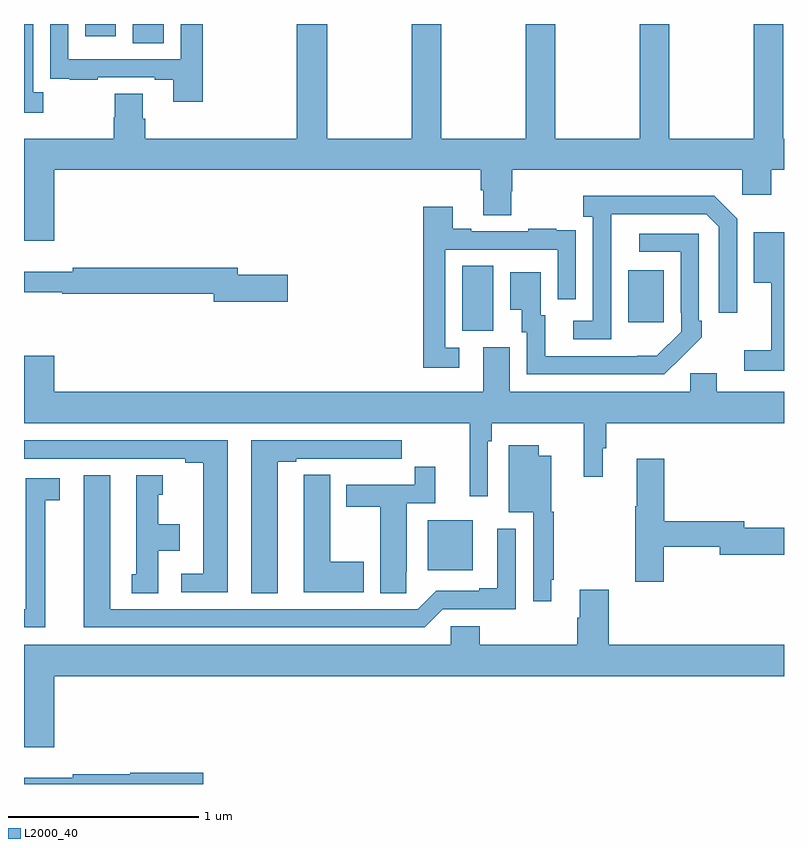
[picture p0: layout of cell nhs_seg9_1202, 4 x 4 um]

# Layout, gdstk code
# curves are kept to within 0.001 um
import gdstk
lib = gdstk.Library(unit=1e-6, precision=1e-09)
def R(c, l, rs):  # rectangles x0, y0, x1, y1
    for r in rs: c.add(gdstk.rectangle(r[:2], r[2:], *l))
def P(c, l, *ps):  # polygons
    for p in ps: c.add(gdstk.Polygon(p, *l))
L2000_40 = (2000, 40)

nhs_seg9_1202 = lib.new_cell('nhs_seg9_1202')
R(nhs_seg9_1202, L2000_40, [(179.126,1215.626,179.362,1215.889), (179.306,1216.885,179.47,1217.228), (180.179,1216.929,180.367,1217.203), (177.572,1218.4,177.736,1218.5), (177.323,1218.435,177.484,1218.5)])
P(nhs_seg9_1202, L2000_40, [(177.1,1218.142),(177.048,1218.142),(177.048,1218.5),(177,1218.5),(177,1218.032),(177.1,1218.032)],
  [(177.941,1218.5),(177.825,1218.5),(177.825,1218.315),(177.234,1218.315),(177.234,1218.5),(177.138,1218.5),(177.138,1218.322),(177.139,1218.322),(177.139,1218.213),(177.241,1218.213),(177.241,1218.207),(177.389,1218.207),(177.389,1218.219),(177.689,1218.219),(177.689,1218.207),(177.785,1218.207),(177.785,1218.09),(177.941,1218.09)],
  [(177.16,1217.732),(179.405,1217.732),(179.405,1217.626),(179.417,1217.626),(179.417,1217.494),(179.565,1217.494),(179.565,1217.619),(179.57,1217.619),(179.57,1217.732),(180.78,1217.732),(180.78,1217.601),(180.932,1217.601),(180.932,1217.732),(181,1217.732),(181,1217.896),(180.996,1217.896),(180.996,1218.5),(180.841,1218.5),(180.841,1217.896),(180.396,1217.896),(180.396,1218.5),(180.241,1218.5),(180.241,1217.896),(179.796,1217.896),(179.796,1218.5),(179.641,1218.5),(179.641,1217.896),(179.196,1217.896),(179.196,1218.5),(179.041,1218.5),(179.041,1217.896),(178.596,1217.896),(178.596,1218.5),(178.436,1218.5),(178.436,1217.896),(177.638,1217.896),(177.638,1218.002),(177.625,1218.002),(177.625,1218.134),(177.478,1218.134),(177.478,1218.009),(177.473,1218.009),(177.473,1217.896),(177,1217.896),(177,1217.358),(177.16,1217.358)],
  [(180.09,1217.299),(180.091,1217.499),(180.591,1217.499),(180.657,1217.433),(180.657,1216.98),(180.753,1216.98),(180.753,1217.475),(180.632,1217.596),(179.943,1217.596),(179.943,1217.486),(179.994,1217.486),(179.994,1216.938),(179.892,1216.938),(179.892,1216.842),(180.09,1216.842)],
  [(179.29,1216.797),(179.217,1216.797),(179.217,1217.313),(179.808,1217.313),(179.808,1217.052),(179.904,1217.052),(179.904,1217.306),(179.903,1217.306),(179.903,1217.415),(179.801,1217.415),(179.801,1217.422),(179.653,1217.422),(179.653,1217.409),(179.353,1217.409),(179.353,1217.422),(179.257,1217.422),(179.257,1217.539),(179.101,1217.539),(179.101,1216.692),(179.29,1216.692)],
  [(181,1217.403),(180.842,1217.403),(180.842,1217.138),(180.932,1217.138),(180.932,1216.783),(180.792,1216.783),(180.792,1216.674),(181,1216.674)],
  [(180.461,1216.747),(180.462,1216.746),(180.567,1216.851),(180.567,1216.939),(180.552,1216.939),(180.552,1217.397),(180.237,1217.397),(180.237,1217.301),(180.456,1217.301),(180.456,1216.981),(180.459,1216.981),(180.459,1216.881),(180.331,1216.753),(179.743,1216.752),(179.743,1216.968),(179.719,1216.968),(179.719,1217.194),(179.558,1217.194),(179.558,1216.997),(179.621,1216.997),(179.621,1216.878),(179.646,1216.878),(179.646,1216.656),(180.37,1216.656)],
  [(178.387,1217.18),(178.126,1217.18),(178.126,1217.216),(177.256,1217.216),(177.256,1217.197),(177,1217.197),(177,1217.088),(177.202,1217.088),(177.202,1217.08),(177.998,1217.08),(177.998,1217.038),(178.387,1217.038)],
  [(179.442,1216.304),(179.462,1216.304),(179.462,1216.4),(179.947,1216.4),(179.947,1216.116),(180.046,1216.116),(180.046,1216.266),(180.065,1216.266),(180.065,1216.4),(181,1216.4),(181,1216.564),(180.646,1216.564),(180.646,1216.662),(180.507,1216.662),(180.507,1216.564),(179.557,1216.564),(179.557,1216.8),(179.417,1216.8),(179.417,1216.564),(177.16,1216.564),(177.16,1216.753),(177,1216.753),(177,1216.4),(179.345,1216.4),(179.345,1216.014),(179.442,1216.014)],
  [(178.072,1216.308),(177,1216.308),(177,1216.212),(177.848,1216.212),(177.848,1216.192),(177.944,1216.192),(177.944,1215.606),(177.828,1215.606),(177.828,1215.51),(178.072,1215.51)],
  [(178.336,1216.197),(178.432,1216.197),(178.432,1216.212),(178.708,1216.212),(178.708,1216.211),(178.874,1216.211),(178.874,1216.212),(178.987,1216.212),(178.987,1216.308),(178.196,1216.308),(178.196,1215.505),(178.336,1215.505)],
  [(179.776,1215.574),(179.788,1215.574),(179.788,1215.933),(179.776,1215.933),(179.776,1216.228),(179.71,1216.228),(179.71,1216.282),(179.552,1216.282),(179.552,1215.929),(179.679,1215.929),(179.679,1215.462),(179.776,1215.462)],
  [(180.366,1215.748),(180.662,1215.748),(180.662,1215.706),(181,1215.706),(181,1215.848),(180.79,1215.848),(180.79,1215.884),(180.371,1215.884),(180.371,1216.213),(180.224,1216.213),(180.224,1215.961),(180.217,1215.961),(180.217,1215.564),(180.366,1215.564)],
  [(179.013,1215.616),(179.014,1215.616),(179.014,1215.978),(179.165,1215.978),(179.165,1216.171),(179.056,1216.171),(179.056,1216.074),(178.697,1216.074),(178.697,1215.958),(178.874,1215.958),(178.874,1215.505),(179.013,1215.505)],
  [(178.789,1215.669),(178.612,1215.669),(178.612,1216.127),(178.473,1216.127),(178.473,1216.019),(178.472,1216.019),(178.472,1215.509),(178.789,1215.509)],
  [(179.205,1215.42),(179.589,1215.42),(179.589,1215.844),(179.492,1215.844),(179.492,1215.529),(179.396,1215.529),(179.396,1215.516),(179.169,1215.516),(179.073,1215.42),(177.454,1215.42),(177.454,1216.126),(177.314,1216.126),(177.314,1215.324),(179.109,1215.324)],
  [(177.706,1215.728),(177.82,1215.728),(177.82,1215.868),(177.706,1215.868),(177.706,1216.023),(177.73,1216.023),(177.73,1216.126),(177.59,1216.126),(177.59,1215.603),(177.566,1215.603),(177.566,1215.505),(177.706,1215.505)],
  [(177.112,1215.994),(177.187,1215.994),(177.187,1216.11),(177.008,1216.11),(177.008,1215.42),(177,1215.42),(177,1215.324),(177.112,1215.324)],
  [(177.16,1215.068),(181,1215.068),(181,1215.232),(180.077,1215.232),(180.077,1215.523),(179.924,1215.523),(179.924,1215.374),(179.912,1215.374),(179.912,1215.232),(179.399,1215.232),(179.399,1215.33),(179.247,1215.33),(179.247,1215.232),(177,1215.232),(177,1214.694),(177.16,1214.694)],
  [(177.943,1214.558),(177.558,1214.558),(177.558,1214.552),(177.256,1214.552),(177.256,1214.533),(177,1214.533),(177,1214.5),(177.943,1214.5)])

lib.write_gds('nhs_seg9_1202.gds')
